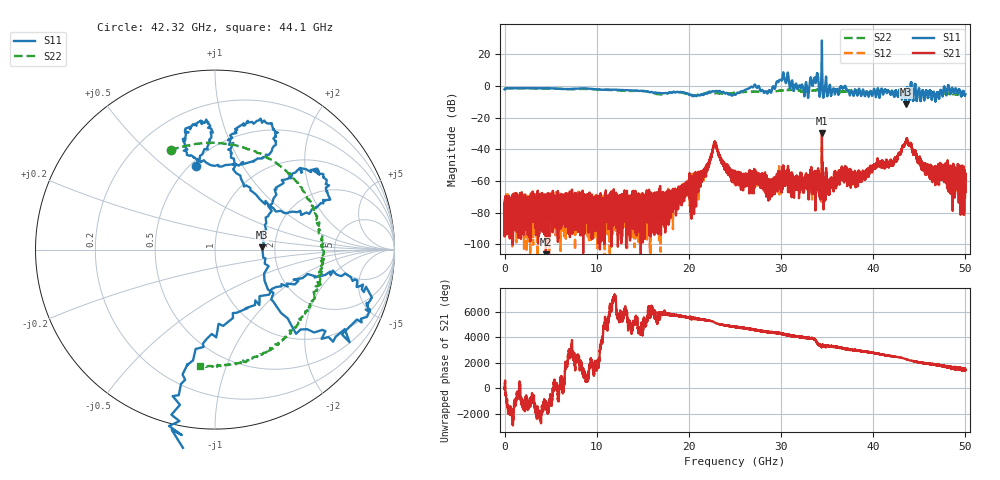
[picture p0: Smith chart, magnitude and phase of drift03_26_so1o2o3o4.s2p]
!Created with skrf (http://scikit-rf.org).
# Hz S RI R 50.0
!freq ReS11 ImS11 ReS21 ImS21 ReS12 ImS12 ReS22 ImS22
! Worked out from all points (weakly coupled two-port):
!   10000 points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, 5.3 MHz to 50 GHz, reference 50 ohm
!   highest |S21| = -29.60 dB at 34.43 GHz (marker M1); lowest = -110.5 dB at 4.48 GHz (marker M2)
!   lowest |S11| = -11.6 dB at 43.53 GHz (marker M3), VSWR 1.72, Z = 85.7 + j2.39 ohm
!   |S11| at or under -10 dB: 43.49209 GHz to 43.55298 GHz (60.89 MHz wide, 0.14 % of centre)
!   |S22| runs from -5.9 to -1.3 dB; largest |S21 - S12| = 0.024
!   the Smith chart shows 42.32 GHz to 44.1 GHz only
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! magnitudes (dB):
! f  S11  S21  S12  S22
! 5.3 MHz  -2.1  -72.4  -73.8  -2.1
! 4.48 GHz  -1.4  -110.5  -73.1  -1.6
! 8.34 GHz  -1.5  -82.9  -82.0  -1.9
! 16.67 GHz  -4.4  -93.5  -72.1  -5.2
! 20.85 GHz  -6.3  -60.8  -61.1  -5.7
! 21.97 GHz  -4.9  -49.4  -50.8  -4.3
! 22.82 GHz  -3.4  -35.1  -35.4  -4.5
! 25.01 GHz  -5.5  -57.2  -57.2  -4.2
! 27.02 GHz  -0.3  -60.8  -56.3  -3.5
! 28.72 GHz  -2.5  -66.5  -64.6  -3.5
! 30.14 GHz  4.4  -55.4  -55.6  -2.8
! 32.74 GHz  2.0  -62.1  -57.4  -3.4
! 33.34 GHz  2.5  -57.5  -58.1  -2.9
! 33.82 GHz  4.0  -66.3  -57.5  -2.6
! 34.43 GHz  28.8  -29.6  -38.9  -2.3
! 35.23 GHz  -1.1  -63.3  -65.3  -2.6
! 36.8 GHz  -1.0  -55.6  -58.5  -3.4
! 38.1 GHz  -2.6  -57.4  -56.3  -2.9
! 41.67 GHz  -3.2  -49.7  -50.3  -3.7
! 43.53 GHz  -11.6  -35.8  -35.6  -4.3
! 46.27 GHz  -5.2  -54.0  -53.6  -5.7
! 50 GHz  -5.2  -55.4  -58.8  -4.9
